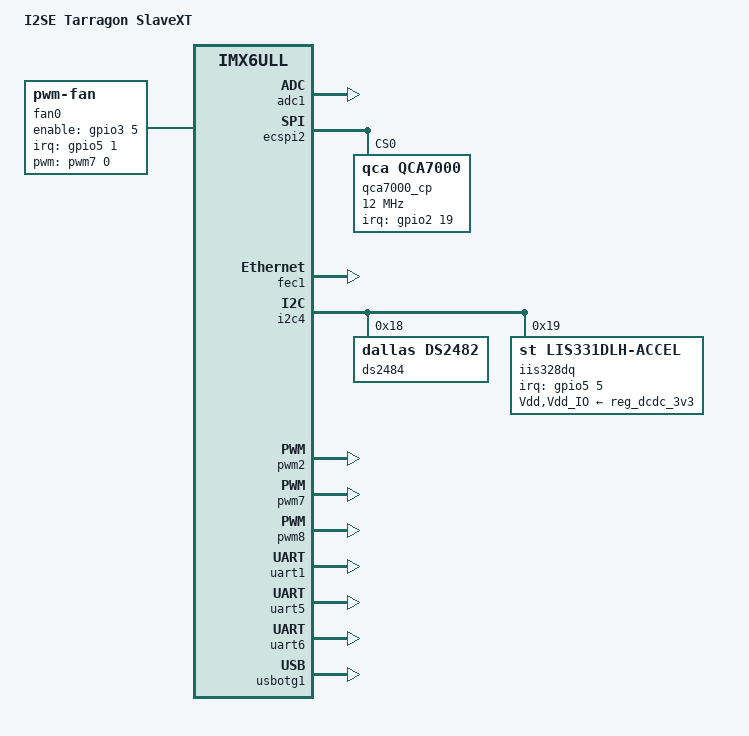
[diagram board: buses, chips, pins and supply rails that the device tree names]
/*
 * Copyright (C) 2018 I2SE GmbH
 * Copyright (C) 2020-2021 in-tech smart charging GmbH
 *
 * This program is free software; you can redistribute it and/or modify
 * it under the terms of the GNU General Public License version 2 as
 * published by the Free Software Foundation.
 */

#include "imx6ull-tarragon-common.dtsi"
#include "imx6ull-tarragon-pmic.dtsi"

/ {
	model = "I2SE Tarragon SlaveXT";
	compatible = "fsl,imx6ull-tarragon", "fsl,imx6ull";

	fan0: pwm-fan {
		compatible = "pwm-fan";
		pwms = <&pwm7 0 40000 PWM_POLARITY_INVERTED>;
		enable-gpios = <&gpio3 5 GPIO_ACTIVE_HIGH>;
		interrupt-parent = <&gpio5>;
		interrupts = <1 IRQ_TYPE_EDGE_FALLING>;
	};
};

&adc1 {
	status = "okay";
};

&ecspi2 {
	status = "okay";

	qca7000_cp: ethernet@0 {
		reg = <0x0>;
		compatible = "qca,qca7000";
		pinctrl-names = "default";
		pinctrl-0 = <&pinctrl_qca7000_cp_int &pinctrl_qca7000_cp_rst &pinctrl_qca7000_cp_btld>;
		interrupt-parent = <&gpio2>;
		interrupts = <19 IRQ_TYPE_EDGE_RISING>;
		spi-cpha;
		spi-cpol;
		spi-max-frequency = <12000000>;
	};
};

&fec1 {
	status = "okay";
};

&i2c4 {
	ds2484@18 {
		compatible = "dallas,ds2482";
		reg = <0x18>;
	};

	iis328dq@19 {
		compatible = "st,lis331dlh-accel", "st,lis3lv02d";
		reg = <0x19>;
		Vdd-supply = <&reg_dcdc_3v3>;
		Vdd_IO-supply = <&reg_dcdc_3v3>;
		interrupt-parent = <&gpio5>;
		interrupts = <5 IRQ_TYPE_EDGE_RISING>; // INT1

		st,click-single-x;
		st,click-single-y;
		st,click-single-z;
		st,click-thresh-x = <10>;
		st,click-thresh-y = <10>;
		st,click-thresh-z = <10>;
		st,irq1-click;
		st,wakeup-x-lo;
		st,wakeup-x-hi;
		st,wakeup-y-lo;
		st,wakeup-y-hi;
		st,wakeup-z-lo;
		st,wakeup-z-hi;
		st,min-limit-x = <120>;
		st,min-limit-y = <120>;
		st,min-limit-z = <140>;
		st,max-limit-x = <550>;
		st,max-limit-y = <550>;
		st,max-limit-z = <750>;
	};
};

&iomuxc {
	pinctrl-0 = <&pinctrl_hog_pins
	             &pinctrl_gpio_motor // only motor interface X9 populated
	             &pinctrl_push_pull_cfg
	             &pinctrl_dig_in>;
};

&pwm2 {
	status = "okay";
};

&pwm7 {
	pinctrl-names = "default";
	pinctrl-0 = <&pinctrl_pwm_fan>;
	status = "okay";
};

&pwm8 {
	status = "okay";
};

&uart1 {
	status = "okay";
};

&uart5 {
	status = "okay";
};

&uart6 {
	status = "okay";
};

&usbotg1 {
	status = "okay";
};
